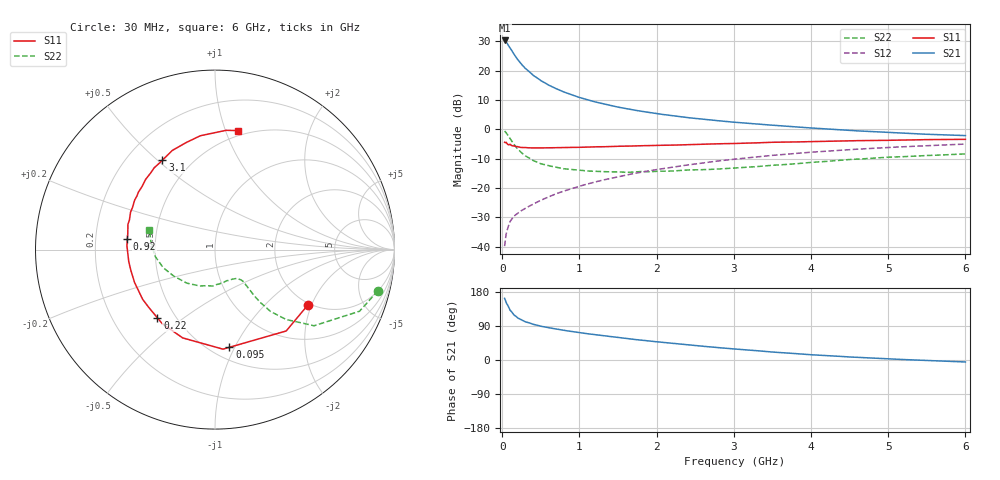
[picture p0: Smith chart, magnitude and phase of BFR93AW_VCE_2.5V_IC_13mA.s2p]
! Infineon Technologies  Discrete & RF Semiconductors
! BFR93AW
! VCE =  2.5 V,  IC =  13 mA
! Common Emitter S-Parameters:  Nov 2015
# GHz  S  MA  R  50
!  f  S11  S21  S12  S22
! GHz  MAG  ANG  MAG  ANG  MAG  ANG  MAG  ANG
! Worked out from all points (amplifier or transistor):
!   206 points, 30 MHz to 6 GHz, reference 50 ohm
!   highest |S21| = 30.3 dB at 30 MHz (marker M1)
!   |S21| within 3 dB of that: start of sweep to 112.2 MHz
!   unconditionally stable (mu >= 1): 665.1 MHz to 2.335 GHz
!   at 200 MHz: K = 0.58, MSG = 26.2 dB, |S12| = -28.6 dB
!   at 1.56 GHz: K = 1.06, MAG = 10.1 dB, |S12| = -15.8 dB
!   at 6 GHz: K = 0.93, MSG = 1.5 dB, |S12| = -5.0 dB
!   S11 on the Smith chart (normalised r, x): 30 MHz: 1.94, -1.88; 95 MHz: 0.61, -0.95; 220 MHz: 0.40, -0.40; 920 MHz: 0.34, +0.05; 3.1 GHz: 0.35, +0.52; 6 GHz: 0.45, +1.11
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0.03  0.6023 -30.9  32.73 162.6  0.0102 75.5  0.9365 -14.1
0.05  0.6024 -48.8  31.11 151.3  0.0164 69.6  0.8754 -23.1
0.095  0.5503 -81.6  25.08 134.0  0.0256 60.8  0.7113 -35.8
0.1  0.5564 -85.4  24.59 131.6  0.0267 60.2  0.6958 -37.6
0.15  0.524 -110.1  19.13 119.1  0.033 54.3  0.555 -44.5
0.2  0.5064 -125.6  15.42 111.0  0.0372 53.9  0.4622 -48.1
0.22  0.4978 -130.1  14.34 108.9  0.0389 54.1  0.4356 -48.5
0.26  0.4898 -138.8  12.38 104.4  0.0421 54.6  0.3871 -49.4
0.3  0.4892 -145.4  10.88 100.7  0.0451 55.7  0.3525 -49.7
0.4  0.4842 -157.7  8.338 94.2  0.0531 58.4  0.2942 -49.1
0.5  0.483 -166.2  6.767 89.1  0.0618 60.2  0.259 -48.8
0.6  0.4851 -172.2  5.681 85.1  0.0703 62.7  0.2395 -48.4
0.7  0.4864 -177.7  4.916 81.5  0.0801 63.6  0.2254 -49.1
0.92  0.4923 173.3  3.787 74.6  0.0995 65.4  0.2059 -51.6
1.04  0.4955 168.7  3.371 71.1  0.111 65.7  0.1988 -54.2
1.2  0.5051 163.8  2.94 66.8  0.1264 66.1  0.1932 -57.9
1.5  0.5148 156.0  2.391 59.3  0.1556 65.6  0.1888 -66.3
2.02  0.5336 143.0  1.837 47.6  0.2082 62.9  0.193 -82.9
3.1  0.5778 120.5  1.292 27.7  0.3189 54.0  0.2227 -116.4
4.1  0.6215 103.3  1.035 12.8  0.416 43.3  0.2783 -150.3
5.1  0.6529 89.5  0.874 2.0  0.498 32.2  0.3384 -176.0
6  0.6752 79.0  0.783 -5.2  0.5606 22.5  0.3815 163.3
